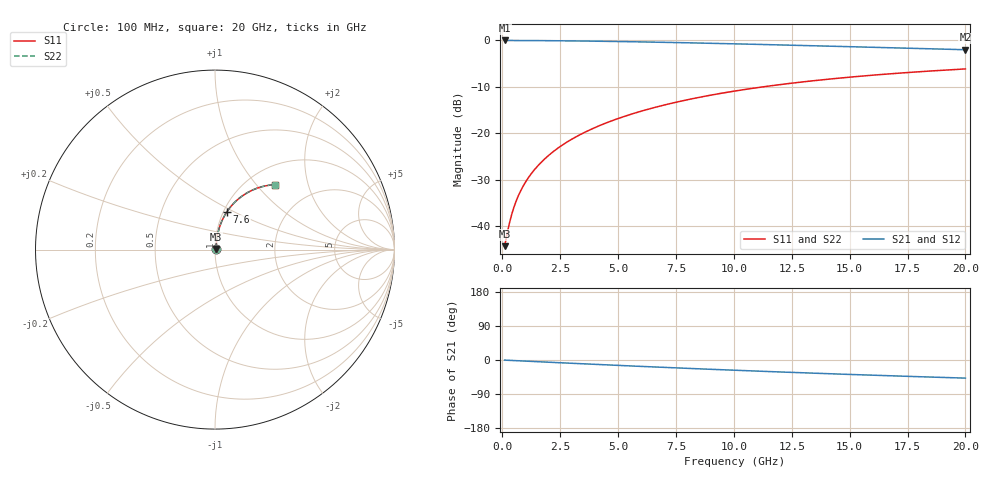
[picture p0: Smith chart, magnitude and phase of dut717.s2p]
! Touchstone file exported from HFSS 2024.1.0
!  File:  C:/UserFiles/LocalFiles/RDL_TSV_Batchsim/temp_RDL_bottom_717_1779858281.aedt
!  Generated:  01:07:21 PM May 27, 2026
!  Design:  RDL_bottom
!  Project:  temp_RDL_bottom_717_1779858281
!  Setup:  Setup1
!  Solution:  Sweep
! Variables:
!  dtsv = 10.80580581um
!  hbump = 3um
!  htsv = 55.77um
!  ldown = 621.71um
!  lrdl = 100um
!  p = 40
!  p1 = 55.98um
!  rhole = 1um
!  t = 450um
!  tdown = 2.49um
!  trdl = 3.915915916um
!  wdown = 17.18um
!  wrdl = 20um
# GHz S MA R 50.000000
! Terminal data exported
! Port[1] = RDL1_T1
! Port[2] = RDL1_T2
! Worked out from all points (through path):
!   200 points, 100 MHz to 20 GHz, reference 50 ohm
!   highest |S21| = -0.05 dB at 100 MHz (marker M1); lowest = -2.0 dB at 20 GHz (marker M2)
!   group delay of S21, straight-line fit = 6.63 ps
!   lowest |S11| = -44.3 dB at 100 MHz (marker M3), VSWR 1.01, Z = 50.5 + j0.307 ohm
!   |S11| at or under -10 dB: start of sweep to 11.29 GHz
!   |S22| runs from -44.3 to -6.2 dB; largest |S21 - S12| = 4.5e-15
!   S11 on the Smith chart (normalised r, x): 100 MHz: 1.01, +0.01; 7.6 GHz: 1.04, +0.45; 20 GHz: 1.32, +1.26
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0.1  0.006122 29.7  0.9947 -0.3  0.9947 -0.3  0.006122 29.7
! Gamma 0 0 0 0
! Port Impedance 50 0 50 0
0.3  0.01061 58.2  0.9944 -0.9  0.9944 -0.9  0.01061 58.2
0.4  0.01326 64.1  0.9942 -1.2  0.9942 -1.2  0.01326 64.1
0.5  0.01599 67.9  0.9939 -1.5  0.9939 -1.5  0.01599 67.9
0.6  0.01873 70.6  0.9937 -1.8  0.9937 -1.8  0.01873 70.6
0.8  0.02425 74.0  0.9932 -2.4  0.9932 -2.4  0.02425 74.0
1.1  0.03256 76.9  0.9924 -3.2  0.9924 -3.2  0.03256 76.9
1.3  0.03814 78.0  0.9918 -3.8  0.9918 -3.8  0.03814 78.0
1.6  0.04655 79.1  0.9908 -4.7  0.9908 -4.7  0.04655 79.1
2.1  0.06067 80.0  0.9888 -6.1  0.9888 -6.1  0.06067 80.0
2.7  0.07776 80.2  0.9858 -7.8  0.9858 -7.8  0.07777 80.2
3.5  0.1007 79.7  0.9809 -10.1  0.9809 -10.1  0.1007 79.7
4.2  0.1209 78.9  0.9758 -12.0  0.9758 -12.0  0.1209 78.9
5  0.1441 77.7  0.9693 -14.2  0.9693 -14.2  0.1441 77.7
5.9  0.17 76.1  0.961 -16.6  0.961 -16.6  0.1701 76.1
6.8  0.1958 74.4  0.9519 -19.0  0.9519 -19.0  0.1958 74.4
7.6  0.2184 72.7  0.9434 -21.1  0.9434 -21.1  0.2184 72.7
10.1  0.2861 67.3  0.9143 -27.2  0.9143 -27.2  0.2862 67.4
11.7  0.3264 63.8  0.8945 -30.9  0.8945 -30.9  0.3266 63.9
13.4  0.3664 60.2  0.873 -34.7  0.873 -34.7  0.3665 60.2
16.7  0.4348 53.5  0.8312 -41.5  0.8312 -41.5  0.435 53.5
20  0.4916 47.4  0.7909 -47.8  0.7909 -47.8  0.4919 47.4
